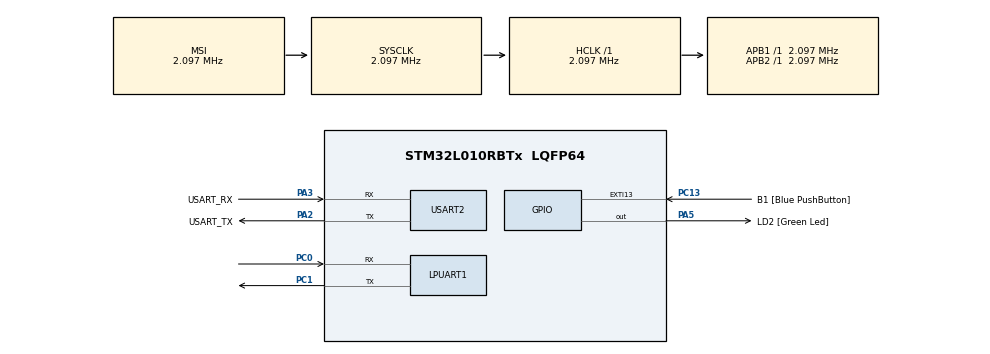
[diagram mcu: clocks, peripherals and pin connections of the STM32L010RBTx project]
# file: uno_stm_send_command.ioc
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Mcu.Family=STM32L0
Mcu.Name=STM32L010RBTx
Mcu.Package=LQFP64
NVIC.LPUART1_IRQn=true\:0\:0\:false\:false\:true\:true\:true\:true
NVIC.USART2_IRQn=true\:0\:0\:false\:false\:true\:true\:true\:true
PA13.GPIO_Label=TMS
PA13.Mode=Serial_Wire
PA13.Signal=SYS_SWDIO
PA14.GPIO_Label=TCK
PA14.Mode=Serial_Wire
PA14.Signal=SYS_SWCLK
PA2.GPIO_Label=USART_TX
PA2.Mode=Asynchronous
PA2.Signal=USART2_TX
PA3.GPIO_Label=USART_RX
PA3.Mode=Asynchronous
PA3.Signal=USART2_RX
PA5.GPIO_Label=LD2 [Green Led]
PA5.Signal=GPIO_Output
PC0.Mode=Asynchronous
PC0.Signal=LPUART1_RX
PC1.Mode=Asynchronous
PC1.Signal=LPUART1_TX
PC13.GPIO_Label=B1 [Blue PushButton]
PC13.GPIO_ModeDefaultEXTI=GPIO_MODE_IT_FALLING
PC13.Signal=GPXTI13
PC14-OSC32_IN.Mode=LSE-External-Oscillator
PC14-OSC32_IN.Signal=RCC_OSC32_IN
PC15-OSC32_OUT.Mode=LSE-External-Oscillator
PC15-OSC32_OUT.Signal=RCC_OSC32_OUT
PH0-OSC_IN.GPIO_Label=MCO
PH0-OSC_IN.Mode=HSE-External-Clock-Source
PH0-OSC_IN.Signal=RCC_OSC_IN
ProjectManager.HeapSize=0x200
ProjectManager.StackSize=0x400
ProjectManager.TargetToolchain=STM32CubeIDE
RCC.AHBFreq_Value=2097000
RCC.APB1Freq_Value=2097000
RCC.APB1TimFreq_Value=2097000
RCC.APB2Freq_Value=2097000
RCC.APB2TimFreq_Value=2097000
RCC.HSE_VALUE=8000000
RCC.HSI16_VALUE=16000000
RCC.HSI48_VALUE=48000000
RCC.HSI_VALUE=16000000
RCC.MSI_VALUE=2097000
RCC.SYSCLKFreq_VALUE=2097000
RCC.VCOOutputFreq_Value=48000000
USART2.VirtualMode-Asynchronous=VM_ASYNC
board=NUCLEO-L010RB

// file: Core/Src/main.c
/* USER CODE BEGIN Header */
/**
  ******************************************************************************
  * @file           : main.c
  * @brief          : Main program body
  ******************************************************************************
  * @attention
  *
  * Copyright (c) 2026 STMicroelectronics.
  * All rights reserved.
  *
  * This software is licensed under terms that can be found in the LICENSE file
  * in the root directory of this software component.
  * If no LICENSE file comes with this software, it is provided AS-IS.
  *
  ******************************************************************************
  */
/* USER CODE END Header */
#include "main.h"

/* USER CODE BEGIN Includes */
#include <string.h>
#include <stdio.h>

/* USER CODE END Includes */

/* USER CODE BEGIN PD */
#define RX_BUFFER_SIZE 64

/* USER CODE END PD */

UART_HandleTypeDef hlpuart1;
UART_HandleTypeDef huart2;

/* USER CODE BEGIN PV */
#define RX_BUFFER_SIZE 64
uint8_t lp_rx_buffer[RX_BUFFER_SIZE];
uint8_t lp_rx_char;
uint8_t lp_rx_index = 0;

/* LoRa Configuration Structure */
typedef struct
{
    uint32_t frequency;
    uint8_t sf;
    uint32_t bw;
    uint8_t cr;
    int8_t tx_power;
} LoRaConfig_t;

/* Current LoRa Configuration */
LoRaConfig_t lora =
{
    .frequency = 868000000,
    .sf = 7,
    .bw = 125000,
    .cr = 5,
    .tx_power = 22
};

/* USER CODE END PV */

void SystemClock_Config(void);
static void MX_GPIO_Init(void);
static void MX_USART2_UART_Init(void);
static void MX_LPUART1_UART_Init(void);
/* USER CODE BEGIN PFP */

int __io_putchar(int ch) {
    HAL_UART_Transmit(&huart2, (uint8_t*)&ch, 1, HAL_MAX_DELAY);
    return ch;
}
void ProcessCommand(char *cmd);

/* USER CODE END PFP */

int main(void)
{

  /* MCU Configuration--------------------------------------------------------*/

  /* Reset of all peripherals, Initializes the Flash interface and the Systick. */
  HAL_Init();

  /* Configure the system clock */
  SystemClock_Config();

  /* Initialize all configured peripherals */
  MX_GPIO_Init();
  MX_USART2_UART_Init();
  MX_LPUART1_UART_Init();
  /* USER CODE BEGIN 2 */
  printf("STM32 Ready\r\n");
  HAL_UARTEx_ReceiveToIdle_IT(&hlpuart1, lp_rx_buffer, RX_BUFFER_SIZE);

  /* USER CODE END 2 */

  /* Infinite loop */
  while (1)
  {
    /* USER CODE BEGIN 3 */
	  printf("Alive\r\n");
	      HAL_Delay(1000);
	  }

  /* USER CODE END 3 */
}

void SystemClock_Config(void)
{
  RCC_OscInitTypeDef RCC_OscInitStruct = {0};
  RCC_ClkInitTypeDef RCC_ClkInitStruct = {0};
  RCC_PeriphCLKInitTypeDef PeriphClkInit = {0};

  /** Configure the main internal regulator output voltage
  */
  __HAL_PWR_VOLTAGESCALING_CONFIG(PWR_REGULATOR_VOLTAGE_SCALE1);

  /** Initializes the RCC Oscillators according to the specified parameters
  * in the RCC_OscInitTypeDef structure.
  */
  RCC_OscInitStruct.OscillatorType = RCC_OSCILLATORTYPE_MSI;
  RCC_OscInitStruct.MSIState = RCC_MSI_ON;
  RCC_OscInitStruct.MSICalibrationValue = 0;
  RCC_OscInitStruct.MSIClockRange = RCC_MSIRANGE_5;
  RCC_OscInitStruct.PLL.PLLState = RCC_PLL_NONE;
  if (HAL_RCC_OscConfig(&RCC_OscInitStruct) != HAL_OK)
  {
    Error_Handler();
  }

  /** Initializes the CPU, AHB and APB buses clocks
  */
  RCC_ClkInitStruct.ClockType = RCC_CLOCKTYPE_HCLK|RCC_CLOCKTYPE_SYSCLK
                              |RCC_CLOCKTYPE_PCLK1|RCC_CLOCKTYPE_PCLK2;
  RCC_ClkInitStruct.SYSCLKSource = RCC_SYSCLKSOURCE_MSI;
  RCC_ClkInitStruct.AHBCLKDivider = RCC_SYSCLK_DIV1;
  RCC_ClkInitStruct.APB1CLKDivider = RCC_HCLK_DIV1;
  RCC_ClkInitStruct.APB2CLKDivider = RCC_HCLK_DIV1;

  if (HAL_RCC_ClockConfig(&RCC_ClkInitStruct, FLASH_LATENCY_0) != HAL_OK)
  {
    Error_Handler();
  }
  PeriphClkInit.PeriphClockSelection = RCC_PERIPHCLK_USART2|RCC_PERIPHCLK_LPUART1;
  PeriphClkInit.Usart2ClockSelection = RCC_USART2CLKSOURCE_PCLK1;
  PeriphClkInit.Lpuart1ClockSelection = RCC_LPUART1CLKSOURCE_PCLK1;
  if (HAL_RCCEx_PeriphCLKConfig(&PeriphClkInit) != HAL_OK)
  {
    Error_Handler();
  }
}

static void MX_LPUART1_UART_Init(void)
{

  hlpuart1.Instance = LPUART1;
  hlpuart1.Init.BaudRate = 9600;
  hlpuart1.Init.WordLength = UART_WORDLENGTH_8B;
  hlpuart1.Init.StopBits = UART_STOPBITS_1;
  hlpuart1.Init.Parity = UART_PARITY_NONE;
  hlpuart1.Init.Mode = UART_MODE_TX_RX;
  hlpuart1.Init.HwFlowCtl = UART_HWCONTROL_NONE;
  hlpuart1.Init.OneBitSampling = UART_ONE_BIT_SAMPLE_DISABLE;
  hlpuart1.AdvancedInit.AdvFeatureInit = UART_ADVFEATURE_NO_INIT;
  if (HAL_UART_Init(&hlpuart1) != HAL_OK)
  {
    Error_Handler();
  }

}

static void MX_USART2_UART_Init(void)
{

  huart2.Instance = USART2;
  huart2.Init.BaudRate = 115200;
  huart2.Init.WordLength = UART_WORDLENGTH_8B;
  huart2.Init.StopBits = UART_STOPBITS_1;
  huart2.Init.Parity = UART_PARITY_NONE;
  huart2.Init.Mode = UART_MODE_TX_RX;
  huart2.Init.HwFlowCtl = UART_HWCONTROL_NONE;
  huart2.Init.OverSampling = UART_OVERSAMPLING_16;
  huart2.Init.OneBitSampling = UART_ONE_BIT_SAMPLE_DISABLE;
  huart2.AdvancedInit.AdvFeatureInit = UART_ADVFEATURE_NO_INIT;
  if (HAL_UART_Init(&huart2) != HAL_OK)
  {
    Error_Handler();
  }

}

static void MX_GPIO_Init(void)
{
  GPIO_InitTypeDef GPIO_InitStruct = {0};

  /* GPIO Ports Clock Enable */
  __HAL_RCC_GPIOC_CLK_ENABLE();
  __HAL_RCC_GPIOH_CLK_ENABLE();
  __HAL_RCC_GPIOA_CLK_ENABLE();

  /*Configure GPIO pin Output Level */
  HAL_GPIO_WritePin(LD2_GPIO_Port, LD2_Pin, GPIO_PIN_RESET);

  /*Configure GPIO pin : B1_Pin */
  GPIO_InitStruct.Pin = B1_Pin;
  GPIO_InitStruct.Mode = GPIO_MODE_IT_FALLING;
  GPIO_InitStruct.Pull = GPIO_NOPULL;
  HAL_GPIO_Init(B1_GPIO_Port, &GPIO_InitStruct);

  /*Configure GPIO pin : LD2_Pin */
  GPIO_InitStruct.Pin = LD2_Pin;
  GPIO_InitStruct.Mode = GPIO_MODE_OUTPUT_PP;
  GPIO_InitStruct.Pull = GPIO_NOPULL;
  GPIO_InitStruct.Speed = GPIO_SPEED_FREQ_LOW;
  HAL_GPIO_Init(LD2_GPIO_Port, &GPIO_InitStruct);

}

/* USER CODE BEGIN 4 */

void HAL_UARTEx_RxEventCallback(UART_HandleTypeDef *huart,
                                uint16_t Size)
{
    if (huart->Instance == LPUART1)
    {
        if(Size < RX_BUFFER_SIZE)
        {
            lp_rx_buffer[Size] = '\0';
        }
        else
        {
            lp_rx_buffer[RX_BUFFER_SIZE - 1] = '\0';
        }

        printf("[RX from Uno]: %s\r\n",
               (char*)lp_rx_buffer);

        ProcessCommand((char*)lp_rx_buffer);

        HAL_UARTEx_ReceiveToIdle_IT(
            &hlpuart1,
            lp_rx_buffer,
            RX_BUFFER_SIZE);
    }
}

void ProcessCommand(char *cmd)
{
    char tx_buf[64];

    cmd[strcspn(cmd,"\r\n")] = '\0';

    printf("RX: %s\r\n",cmd);

    if(strcmp(cmd,"<GET,FREQ>")==0)
    {
        sprintf(tx_buf,
                "<FREQ,%lu>\r\n",
                lora.frequency);
    }

    else if(strcmp(cmd,"<GET,SF>")==0)
    {
        sprintf(tx_buf,
                "<SF,%d>\r\n",
                lora.sf);
    }

    else if(strcmp(cmd,"<GET,BW>")==0)
    {
        sprintf(tx_buf,
                "<BW,%lu>\r\n",
                lora.bw);
    }

    else if(strcmp(cmd,"<GET,CR>")==0)
    {
        sprintf(tx_buf,
                "<CR,%d>\r\n",
                lora.cr);
    }

    else if(strcmp(cmd,"<GET,POWER>")==0)
    {
        sprintf(tx_buf,
                "<POWER,%d>\r\n",
                lora.tx_power);
    }

    else
    {
        sprintf(tx_buf,
                "<ERROR>\r\n");
    }

    HAL_UART_Transmit(
        &hlpuart1,
        (uint8_t*)tx_buf,
        strlen(tx_buf),
        HAL_MAX_DELAY);

    printf("TX: %s",tx_buf);
}

/* USER CODE END 4 */

void Error_Handler(void)
{
  __disable_irq();
  while (1)
  {
  }
}
